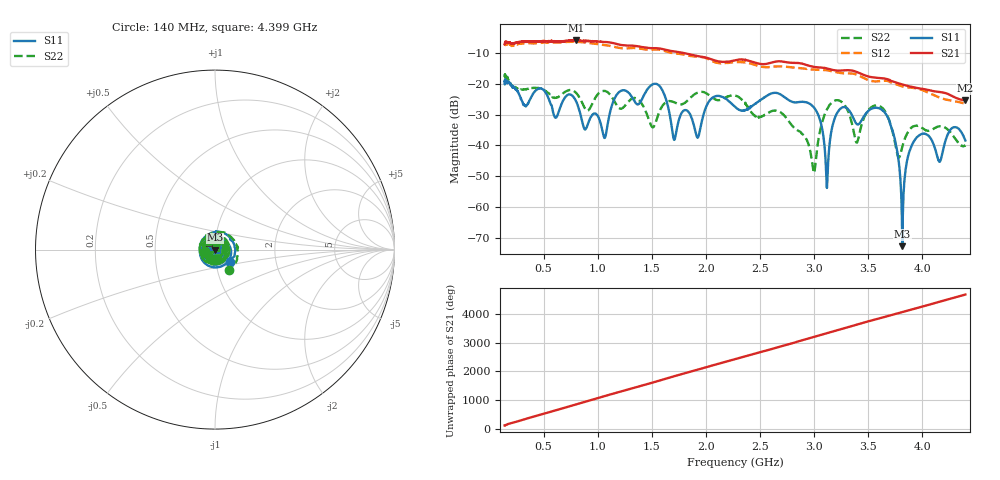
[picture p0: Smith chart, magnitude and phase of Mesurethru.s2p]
!Created with skrf (http://scikit-rf.org).
# MHz S RI R 50.0
!freq ReS11 ImS11 ReS21 ImS21 ReS12 ImS12 ReS22 ImS22
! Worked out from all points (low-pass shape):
!   4260 points, 140 MHz to 4.399 GHz, reference 50 ohm
!   highest |S21| = -6.02 dB at 799 MHz (marker M1); lowest = -25.4 dB at 4.399 GHz (marker M2)
!   |S21| within 3 dB of the highest: start of sweep to 1.626 GHz
!   lowest |S11| = -72.6 dB at 3.817 GHz (marker M3), VSWR 1.00, Z = 50 + j0.00492 ohm
!   |S11| at or under -10 dB: start of sweep to end of sweep
!   |S22| runs from -48.9 to -16.9 dB; largest |S21 - S12| = 0.56
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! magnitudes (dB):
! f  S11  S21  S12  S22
! 140 MHz  -19.2  -7.2  -7.7  -17.4
! 611 MHz  -31.0  -6.3  -6.7  -24.6
! 799 MHz  -25.5  -6.0  -6.5  -22.9
! 850 MHz  -31.2  -6.2  -6.6  -25.7
! 1.065 GHz  -37.6  -6.5  -7.5  -22.3
! 1.196 GHz  -22.8  -7.3  -8.4  -27.9
! 1.56 GHz  -20.4  -8.5  -9.0  -30.1
! 1.708 GHz  -38.2  -9.6  -10.2  -26.0
! 1.8 GHz  -28.6  -10.1  -10.6  -26.3
! 2.27 GHz  -27.5  -12.4  -13.0  -23.8
! 2.705 GHz  -23.8  -12.8  -14.4  -29.7
! 2.98 GHz  -27.0  -14.5  -15.4  -44.8
! 3.119 GHz  -53.8  -15.1  -15.7  -28.3
! 3.249 GHz  -28.0  -15.8  -16.6  -25.8
! 3.393 GHz  -33.0  -16.2  -17.1  -39.1
! 3.535 GHz  -28.0  -17.9  -19.2  -27.5
! 3.69 GHz  -31.5  -18.7  -19.2  -31.4
! 3.817 GHz  -72.6  -20.3  -20.9  -40.3
! 3.957 GHz  -37.1  -21.4  -21.6  -33.6
! 4.159 GHz  -45.2  -22.7  -24.5  -33.8
! 4.276 GHz  -34.4  -24.0  -25.5  -36.4
! 4.399 GHz  -38.4  -25.4  -26.5  -40.0
